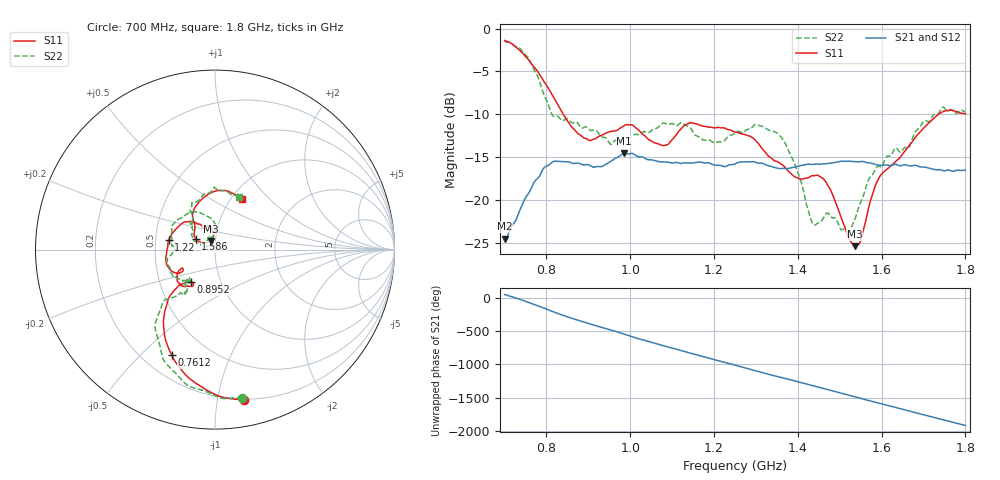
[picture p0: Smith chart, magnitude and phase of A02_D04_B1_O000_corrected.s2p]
! Created with skrf 1.9.0 (http://scikit-rf.org).
# Hz S RI R 50.0
!freq ReS11 ImS11 ReS21 ImS21 ReS12 ImS12 ReS22 ImS22
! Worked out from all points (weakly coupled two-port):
!   1601 points, 700 MHz to 1.8 GHz, reference 50 ohm
!   highest |S21| = -14.56 dB at 985.3 MHz (marker M1); lowest = -24.5 dB at 700.7 MHz (marker M2)
!   lowest |S11| = -25.4 dB at 1.536 GHz (marker M3), VSWR 1.11, Z = 47.4 + j4.54 ohm
!   |S11| at or under -10 dB: 839.8 MHz to 1.736 GHz (895.8 MHz wide, 69.6 % of centre)
!   |S22| runs from -23.7 to -1.5 dB; largest |S21 - S12| = 0.0035
!   S11 on the Smith chart (normalised r, x): 700 MHz: 0.19, -1.19; 761.2 MHz: 0.32, -0.62; 895.2 MHz: 0.72, -0.28; 1.22 GHz: 0.59, +0.07; 1.586 GHz: 0.80, +0.10; 1.8 GHz: 1.12, +0.70
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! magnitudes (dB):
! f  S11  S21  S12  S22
! 700 MHz  -1.4  -24.5  -24.3  -1.5
! 700.7 MHz  -1.4  -24.5  -24.2  -1.5
! 761.2 MHz  -3.9  -18.9  -18.8  -3.8
! 814.8 MHz  -7.8  -15.6  -15.6  -10.1
! 883.6 MHz  -12.5  -15.9  -15.7  -11.6
! 895.2 MHz  -12.9  -15.9  -16.0  -11.5
! 985.3 MHz  -11.3  -14.6  -14.6  -12.7
! 1.067 GHz  -13.5  -15.5  -15.5  -11.5
! 1.141 GHz  -11.0  -15.7  -15.7  -11.5
! 1.22 GHz  -11.6  -16.0  -16.1  -13.2
! 1.25 GHz  -12.1  -15.8  -15.7  -12.2
! 1.359 GHz  -15.8  -16.4  -16.3  -12.6
! 1.396 GHz  -17.4  -16.1  -16.1  -16.3
! 1.434 GHz  -17.2  -15.9  -15.8  -22.6
! 1.471 GHz  -18.2  -15.8  -15.8  -21.5
! 1.518 GHz  -24.1  -15.5  -15.5  -23.7
! 1.536 GHz  -25.4  -15.5  -15.5  -22.3
! 1.55 GHz  -24.7  -15.5  -15.5  -20.2
! 1.586 GHz  -18.2  -15.9  -15.9  -16.3
! 1.617 GHz  -16.2  -16.0  -15.9  -14.9
! 1.737 GHz  -10.0  -16.5  -16.5  -9.8
! 1.8 GHz  -10.0  -16.5  -16.5  -9.8
